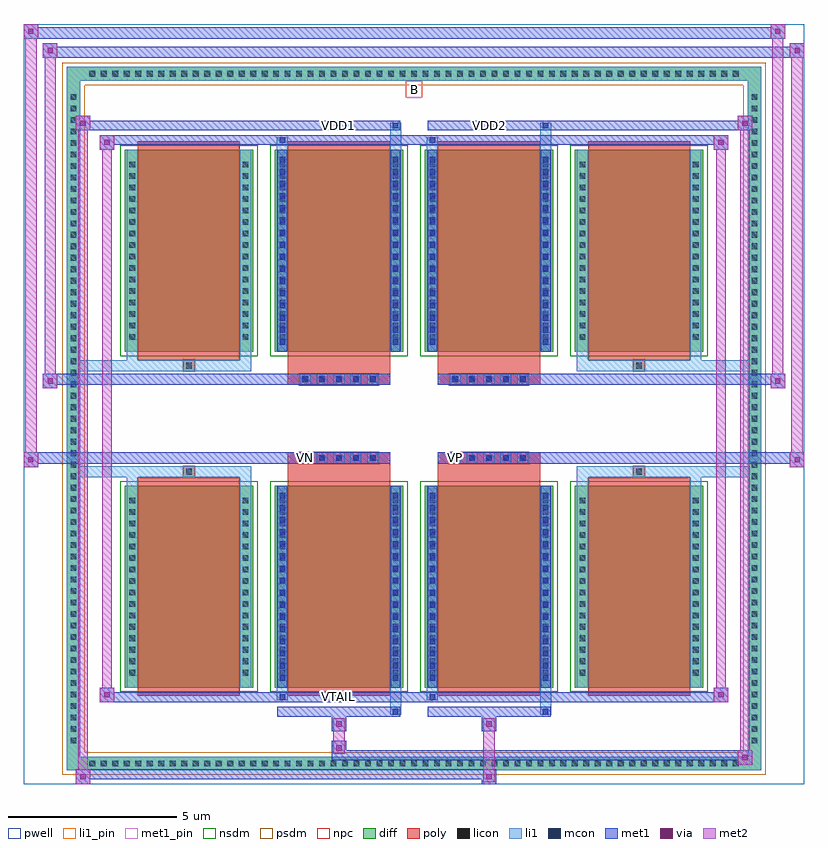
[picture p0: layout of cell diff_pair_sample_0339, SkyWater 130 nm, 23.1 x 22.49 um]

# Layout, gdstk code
import gdstk
lib = gdstk.Library(unit=1e-6, precision=5e-09)
def R(c, l, rs):  # rectangles x0, y0, x1, y1
    for r in rs: c.add(gdstk.rectangle(r[:2], r[2:], *l))
def A(c, l, x, y, w, h, nx, ny, dx, dy):  # array of equal rectangles
    R(c, l, [(x+i*dx, y+j*dy, x+i*dx+w, y+j*dy+h) for i in range(nx) for j in range(ny)])
def P(c, l, *ps):  # polygons
    for p in ps: c.add(gdstk.Polygon(p, *l))
pwell = (64, 44)
diff = (65, 20)
poly = (66, 20)
licon = (66, 44)
li1_pin = (67, 16)
li1 = (67, 20)
mcon = (67, 44)
met1_pin = (68, 16)
met1 = (68, 20)
via = (68, 44)
met2 = (69, 20)
nsdm = (93, 44)
psdm = (94, 20)
npc = (95, 20)

diff_pair_sample_0339 = lib.new_cell('diff_pair_sample_0339')
R(diff_pair_sample_0339, pwell, [(-11.55,-10.81,11.55,11.68), (-8.87,-9,-0.01,-0.8), (0.01,-9,8.87,-0.8), (-8.87,0.8,-0.01,9), (0.01,0.8,8.87,9)])
A(diff_pair_sample_0339, diff, -9.725, -10.41, 0.41, 0.41, 57, 2, 0.34, 20.41)
A(diff_pair_sample_0339, diff, -10.28, -9.725, 0.41, 0.41, 1, 57, 0, 0.34)
A(diff_pair_sample_0339, diff, 9.87, -9.725, 0.41, 0.41, 1, 57, 0, 0.34)
A(diff_pair_sample_0339, diff, -8.56, -7.955, 3.8, 5.97, 4, 2, 4.44, 9.94)
R(diff_pair_sample_0339, diff, [(-9.725,-10.41,9.725,-10), (-10.28,-9.725,-9.87,9.725), (9.87,-9.725,10.28,9.725), (-9.725,10,9.725,10.41)])
P(diff_pair_sample_0339, diff, [(10.28,10.41),(-10.28,10.41),(-10.28,-10),(-9.87,-10),(-9.87,10),(9.87,10),(9.87,-10),(-9.87,-10),(-10.28,-10),(-10.28,-10.41),(10.28,-10.41)])
A(diff_pair_sample_0339, poly, -8.17, -8.205, 3.02, 6.47, 4, 2, 4.44, 9.94)
A(diff_pair_sample_0339, poly, -3.385, -1.33, 0.33, 0.33, 5, 2, 0.5, 2.33)
A(diff_pair_sample_0339, poly, 1.055, -1.33, 0.33, 0.33, 5, 2, 0.5, 2.33)
R(diff_pair_sample_0339, poly, [(-6.825,-1.735,-6.495,-1.405), (-6.825,-1.735,-6.495,-1.405), (-3.73,-1.735,-0.71,-1.33), (0.71,-1.735,3.73,-1.33), (6.495,-1.735,6.825,-1.405), (6.495,-1.735,6.825,-1.405), (-3.73,-1.33,-0.71,-1), (0.71,-1.33,3.73,-1), (-3.73,1,-0.71,1.33), (0.71,1,3.73,1.33), (-3.73,1.33,-0.71,1.735), (0.71,1.33,3.73,1.735), (-6.825,1.405,-6.495,1.735), (-6.825,1.405,-6.495,1.735), (6.495,1.405,6.825,1.735), (6.495,1.405,6.825,1.735)])
A(diff_pair_sample_0339, licon, -9.605, -10.29, 0.17, 0.17, 57, 2, 0.34, 20.41)
A(diff_pair_sample_0339, licon, -10.16, -9.605, 0.17, 0.17, 1, 57, 0, 0.34)
A(diff_pair_sample_0339, licon, 9.99, -9.605, 0.17, 0.17, 1, 57, 0, 0.34)
A(diff_pair_sample_0339, licon, -8.42, -7.605, 0.17, 0.17, 1, 16, 0, 0.34)
A(diff_pair_sample_0339, licon, -5.07, -7.605, 0.17, 0.17, 1, 16, 0, 0.34)
A(diff_pair_sample_0339, licon, -3.98, -7.605, 0.17, 0.17, 1, 16, 0, 0.34)
A(diff_pair_sample_0339, licon, -0.63, -7.605, 0.17, 0.17, 1, 16, 0, 0.34)
A(diff_pair_sample_0339, licon, 0.46, -7.605, 0.17, 0.17, 1, 16, 0, 0.34)
A(diff_pair_sample_0339, licon, 3.81, -7.605, 0.17, 0.17, 1, 16, 0, 0.34)
A(diff_pair_sample_0339, licon, 4.9, -7.605, 0.17, 0.17, 1, 16, 0, 0.34)
A(diff_pair_sample_0339, licon, 8.25, -7.605, 0.17, 0.17, 1, 16, 0, 0.34)
A(diff_pair_sample_0339, licon, -3.305, -1.25, 0.17, 0.17, 5, 2, 0.5, 2.33)
A(diff_pair_sample_0339, licon, 1.135, -1.25, 0.17, 0.17, 5, 2, 0.5, 2.33)
A(diff_pair_sample_0339, licon, -8.42, 2.335, 0.17, 0.17, 1, 16, 0, 0.34)
A(diff_pair_sample_0339, licon, -5.07, 2.335, 0.17, 0.17, 1, 16, 0, 0.34)
A(diff_pair_sample_0339, licon, -3.98, 2.335, 0.17, 0.17, 1, 16, 0, 0.34)
A(diff_pair_sample_0339, licon, -0.63, 2.335, 0.17, 0.17, 1, 16, 0, 0.34)
A(diff_pair_sample_0339, licon, 0.46, 2.335, 0.17, 0.17, 1, 16, 0, 0.34)
A(diff_pair_sample_0339, licon, 3.81, 2.335, 0.17, 0.17, 1, 16, 0, 0.34)
A(diff_pair_sample_0339, licon, 4.9, 2.335, 0.17, 0.17, 1, 16, 0, 0.34)
A(diff_pair_sample_0339, licon, 8.25, 2.335, 0.17, 0.17, 1, 16, 0, 0.34)
R(diff_pair_sample_0339, licon, [(-6.745,-1.655,-6.575,-1.485), (6.575,-1.655,6.745,-1.485), (-6.745,1.485,-6.575,1.655), (6.575,1.485,6.745,1.655)])
R(diff_pair_sample_0339, li1_pin, [(-0.25,9.5,0.25,10)])
A(diff_pair_sample_0339, li1, -9.685, -10.37, 0.33, 0.33, 57, 2, 0.34, 20.41)
A(diff_pair_sample_0339, li1, -10.24, -9.685, 0.33, 0.33, 1, 57, 0, 0.34)
A(diff_pair_sample_0339, li1, 9.91, -9.685, 0.33, 0.33, 1, 57, 0, 0.34)
A(diff_pair_sample_0339, li1, -3.98, -7.755, 0.17, 0.17, 1, 16, 0, 0.36)
A(diff_pair_sample_0339, li1, -0.63, -7.755, 0.17, 0.17, 1, 16, 0, 0.36)
A(diff_pair_sample_0339, li1, 0.46, -7.755, 0.17, 0.17, 1, 16, 0, 0.36)
A(diff_pair_sample_0339, li1, 3.81, -7.755, 0.17, 0.17, 1, 16, 0, 0.36)
A(diff_pair_sample_0339, li1, -8.5, -7.685, 0.33, 0.33, 1, 16, 0, 0.34)
A(diff_pair_sample_0339, li1, -5.15, -7.685, 0.33, 0.33, 1, 16, 0, 0.34)
A(diff_pair_sample_0339, li1, -4.06, -7.685, 0.33, 0.33, 1, 16, 0, 0.34)
A(diff_pair_sample_0339, li1, -0.71, -7.685, 0.33, 0.33, 1, 16, 0, 0.34)
A(diff_pair_sample_0339, li1, 0.38, -7.685, 0.33, 0.33, 1, 16, 0, 0.34)
A(diff_pair_sample_0339, li1, 3.73, -7.685, 0.33, 0.33, 1, 16, 0, 0.34)
A(diff_pair_sample_0339, li1, 4.82, -7.685, 0.33, 0.33, 1, 16, 0, 0.34)
A(diff_pair_sample_0339, li1, 8.17, -7.685, 0.33, 0.33, 1, 16, 0, 0.34)
A(diff_pair_sample_0339, li1, -3.385, -1.33, 0.33, 0.33, 5, 2, 0.5, 2.33)
A(diff_pair_sample_0339, li1, 1.055, -1.33, 0.33, 0.33, 5, 2, 0.5, 2.33)
A(diff_pair_sample_0339, li1, -3.98, 2.185, 0.17, 0.17, 1, 16, 0, 0.36)
A(diff_pair_sample_0339, li1, -0.63, 2.185, 0.17, 0.17, 1, 16, 0, 0.36)
A(diff_pair_sample_0339, li1, 0.46, 2.185, 0.17, 0.17, 1, 16, 0, 0.36)
A(diff_pair_sample_0339, li1, 3.81, 2.185, 0.17, 0.17, 1, 16, 0, 0.36)
A(diff_pair_sample_0339, li1, -8.5, 2.255, 0.33, 0.33, 1, 16, 0, 0.34)
A(diff_pair_sample_0339, li1, -5.15, 2.255, 0.33, 0.33, 1, 16, 0, 0.34)
A(diff_pair_sample_0339, li1, -4.06, 2.255, 0.33, 0.33, 1, 16, 0, 0.34)
A(diff_pair_sample_0339, li1, -0.71, 2.255, 0.33, 0.33, 1, 16, 0, 0.34)
A(diff_pair_sample_0339, li1, 0.38, 2.255, 0.33, 0.33, 1, 16, 0, 0.34)
A(diff_pair_sample_0339, li1, 3.73, 2.255, 0.33, 0.33, 1, 16, 0, 0.34)
A(diff_pair_sample_0339, li1, 4.82, 2.255, 0.33, 0.33, 1, 16, 0, 0.34)
A(diff_pair_sample_0339, li1, 8.17, 2.255, 0.33, 0.33, 1, 16, 0, 0.34)
R(diff_pair_sample_0339, li1, [(-10.28,-10.41,-9.87,-10), (-10.28,-10.41,-9.87,-10), (-9.87,-10.41,9.87,-10), (9.87,-10.41,10.28,-10), (9.87,-10.41,10.28,-10), (-10.28,-10,-9.87,10), (9.87,-10,10.28,10), (-0.71,-8.76,-0.38,-7.955), (-0.63,-8.76,-0.46,-8.59), (3.73,-8.76,4.06,-7.955), (3.81,-8.76,3.98,-8.59), (-4.06,-8.33,-3.73,-7.955), (-3.98,-8.33,-3.81,-8.16), (0.38,-8.33,0.71,-7.955), (0.46,-8.33,0.63,-8.16), (-8.5,-7.955,-8.17,-1.985), (-5.15,-7.955,-4.82,-1.985), (-4.06,-7.955,-3.73,-1.985), (-0.71,-7.955,-0.38,-1.985), (0.38,-7.955,0.71,-1.985), (3.73,-7.955,4.06,-1.985), (4.82,-7.955,5.15,-1.985), (8.17,-7.955,8.5,-1.985), (-3.98,-7.755,-3.81,-2.185), (-0.63,-7.755,-0.46,-2.185), (0.46,-7.755,0.63,-2.185), (3.81,-7.755,3.98,-2.185), (-8.5,-1.985,-8.17,-1.405), (-5.15,-1.985,-4.82,-1.405), (4.82,-1.985,5.15,-1.405), (8.17,-1.985,8.5,-1.405), (-10.28,-1.735,-6.825,-1.405), (-8.5,-1.735,-6.825,-1.405), (-6.825,-1.735,-6.495,-1.405), (-6.495,-1.735,-4.82,-1.405), (4.82,-1.735,6.495,-1.405), (6.495,-1.735,6.825,-1.405), (6.495,-1.735,10.28,-1.405), (6.825,-1.735,8.5,-1.405), (-10.28,1.405,-6.825,1.735), (-8.5,1.405,-6.825,1.735), (-8.5,1.405,-8.17,1.985), (-6.825,1.405,-6.495,1.735), (-6.495,1.405,-4.82,1.735), (-5.15,1.405,-4.82,1.985), (4.82,1.405,6.495,1.735), (4.82,1.405,5.15,1.985), (6.495,1.405,6.825,1.735), (6.495,1.405,10.28,1.735), (6.825,1.405,8.5,1.735), (8.17,1.405,8.5,1.985), (-8.5,1.985,-8.17,7.955), (-5.15,1.985,-4.82,7.955), (-4.06,1.985,-3.73,7.955), (-0.71,1.985,-0.38,7.955), (0.38,1.985,0.71,7.955), (3.73,1.985,4.06,7.955), (4.82,1.985,5.15,7.955), (8.17,1.985,8.5,7.955), (-3.98,2.185,-3.81,7.755), (-0.63,2.185,-0.46,7.755), (0.46,2.185,0.63,7.755), (3.81,2.185,3.98,7.755), (-4.06,7.955,-3.73,8.33), (-0.71,7.955,-0.38,8.76), (0.38,7.955,0.71,8.33), (3.73,7.955,4.06,8.76), (-3.98,8.16,-3.81,8.33), (0.46,8.16,0.63,8.33), (-0.63,8.59,-0.46,8.76), (3.81,8.59,3.98,8.76), (-10.28,10,-9.87,10.41), (-10.28,10,-9.87,10.41), (-9.87,10,9.87,10.41), (9.87,10,10.28,10.41), (9.87,10,10.28,10.41)])
A(diff_pair_sample_0339, mcon, -3.98, -7.755, 0.17, 0.17, 1, 16, 0, 0.36)
A(diff_pair_sample_0339, mcon, -0.63, -7.755, 0.17, 0.17, 1, 16, 0, 0.36)
A(diff_pair_sample_0339, mcon, 0.46, -7.755, 0.17, 0.17, 1, 16, 0, 0.36)
A(diff_pair_sample_0339, mcon, 3.81, -7.755, 0.17, 0.17, 1, 16, 0, 0.36)
A(diff_pair_sample_0339, mcon, -3.305, -1.25, 0.17, 0.17, 5, 2, 0.5, 2.33)
A(diff_pair_sample_0339, mcon, 1.135, -1.25, 0.17, 0.17, 5, 2, 0.5, 2.33)
A(diff_pair_sample_0339, mcon, -3.98, 2.185, 0.17, 0.17, 1, 16, 0, 0.36)
A(diff_pair_sample_0339, mcon, -0.63, 2.185, 0.17, 0.17, 1, 16, 0, 0.36)
A(diff_pair_sample_0339, mcon, 0.46, 2.185, 0.17, 0.17, 1, 16, 0, 0.36)
A(diff_pair_sample_0339, mcon, 3.81, 2.185, 0.17, 0.17, 1, 16, 0, 0.36)
R(diff_pair_sample_0339, mcon, [(-0.63,-8.76,-0.46,-8.59), (3.81,-8.76,3.98,-8.59), (-3.98,-8.33,-3.81,-8.16), (0.46,-8.33,0.63,-8.16), (-3.98,8.16,-3.81,8.33), (0.46,8.16,0.63,8.33), (-0.63,8.59,-0.46,8.76), (3.81,8.59,3.98,8.76)])
R(diff_pair_sample_0339, met1_pin, [(-2.355,-8.37,-2.085,-8.1), (-3.355,-1.29,-3.085,-1.02), (1.085,-1.29,1.355,-1.02), (-2.355,8.55,-2.085,8.82), (2.085,8.55,2.355,8.82)])
A(diff_pair_sample_0339, met1, -4.04, -7.815, 0.29, 0.29, 1, 16, 0, 0.36)
A(diff_pair_sample_0339, met1, -0.69, -7.815, 0.29, 0.29, 1, 16, 0, 0.36)
A(diff_pair_sample_0339, met1, 0.4, -7.815, 0.29, 0.29, 1, 16, 0, 0.36)
A(diff_pair_sample_0339, met1, 3.75, -7.815, 0.29, 0.29, 1, 16, 0, 0.36)
A(diff_pair_sample_0339, met1, -3.365, -1.31, 0.29, 0.29, 5, 2, 0.5, 2.33)
A(diff_pair_sample_0339, met1, 1.075, -1.31, 0.29, 0.29, 5, 2, 0.5, 2.33)
A(diff_pair_sample_0339, met1, -4.04, 2.125, 0.29, 0.29, 1, 16, 0, 0.36)
A(diff_pair_sample_0339, met1, -0.69, 2.125, 0.29, 0.29, 1, 16, 0, 0.36)
A(diff_pair_sample_0339, met1, 0.4, 2.125, 0.29, 0.29, 1, 16, 0, 0.36)
A(diff_pair_sample_0339, met1, 3.75, 2.125, 0.29, 0.29, 1, 16, 0, 0.36)
R(diff_pair_sample_0339, met1, [(-10.01,-10.81,-9.58,-10.38), (2.005,-10.81,2.435,-10.38), (-10.01,-10.67,2.435,-10.38), (9.58,-10.24,10.01,-9.81), (-2.435,-10.1,10.01,-9.81), (-2.435,-9.96,-2.005,-9.53), (-2.435,-9.25,-2.005,-8.82), (2.005,-9.25,2.435,-8.82), (-4.04,-8.82,-0.4,-8.53), (-0.69,-8.82,-0.4,-8.53), (0.4,-8.82,4.04,-8.53), (3.75,-8.82,4.04,-8.53), (-9.3,-8.39,-8.87,-7.96), (-9.3,-8.39,-4.04,-8.1), (-4.04,-8.39,-3.75,-8.1), (-4.04,-8.39,-0.4,-8.1), (-0.4,-8.39,0.4,-8.1), (0.4,-8.39,0.69,-8.1), (0.4,-8.39,4.04,-8.1), (4.04,-8.39,9.3,-8.1), (8.87,-8.39,9.3,-7.96), (-4.04,-7.955,-3.75,-1.985), (-0.69,-7.955,-0.4,-1.985), (0.4,-7.955,0.69,-1.985), (3.75,-7.955,4.04,-1.985), (-11.55,-1.43,-11.12,-1), (11.12,-1.43,11.55,-1), (-11.55,-1.33,-0.71,-1), (-3.73,-1.33,-0.71,-1), (0.71,-1.33,3.73,-1), (0.71,-1.33,11.55,-1), (-10.98,0.9,-10.55,1.33), (10.55,0.9,10.98,1.33), (-10.98,1,-3.73,1.33), (-3.73,1,-0.71,1.33), (0.71,1,3.73,1.33), (3.73,1,10.98,1.33), (-4.04,1.985,-3.75,7.955), (-0.69,1.985,-0.4,7.955), (0.4,1.985,0.69,7.955), (3.75,1.985,4.04,7.955), (-9.3,7.96,-8.87,8.39), (8.87,7.96,9.3,8.39), (-9.3,8.1,-4.04,8.39), (-4.04,8.1,-3.75,8.39), (-4.04,8.1,-0.4,8.39), (-0.4,8.1,0.4,8.39), (0.4,8.1,0.69,8.39), (0.4,8.1,4.04,8.39), (4.04,8.1,9.3,8.39), (-10.01,8.53,-9.58,8.96), (-10.01,8.53,-4.04,8.82), (-4.04,8.53,-0.4,8.82), (-0.69,8.53,-0.4,8.82), (0.4,8.53,4.04,8.82), (3.75,8.53,4.04,8.82), (4.04,8.53,10.01,8.82), (9.58,8.53,10.01,8.96), (-10.98,10.68,-10.55,11.11), (-10.98,10.68,-8.87,11.01), (-8.87,10.68,8.87,11.01), (8.87,10.68,11.55,11.01), (11.12,10.68,11.55,11.11), (-11.55,11.25,-11.12,11.68), (-11.55,11.25,-8.87,11.58), (-8.87,11.25,8.87,11.58), (8.87,11.25,10.98,11.58), (10.55,11.25,10.98,11.68)])
R(diff_pair_sample_0339, via, [(-9.87,-10.67,-9.72,-10.52), (2.145,-10.67,2.295,-10.52), (9.72,-10.1,9.87,-9.95), (-2.295,-9.82,-2.145,-9.67), (-2.295,-9.11,-2.145,-8.96), (2.145,-9.11,2.295,-8.96), (-9.16,-8.25,-9.01,-8.1), (9.01,-8.25,9.16,-8.1), (-11.41,-1.29,-11.26,-1.14), (11.26,-1.29,11.41,-1.14), (-10.84,1.04,-10.69,1.19), (10.69,1.04,10.84,1.19), (-9.16,8.1,-9.01,8.25), (9.01,8.1,9.16,8.25), (-9.87,8.67,-9.72,8.82), (9.72,8.67,9.87,8.82), (-10.84,10.82,-10.69,10.97), (11.26,10.82,11.41,10.97), (-11.41,11.39,-11.26,11.54), (10.69,11.39,10.84,11.54)])
R(diff_pair_sample_0339, met2, [(-10.01,-10.81,-9.58,-10.38), (-9.94,-10.81,-9.65,8.96), (-9.65,-10.81,-9.58,-10.38), (-9.96,-10.76,-9.63,-10.43), (2.055,-10.76,2.385,-10.43), (2.055,-10.43,2.385,-9.2), (9.58,-10.24,10.01,-9.81), (9.65,-10.24,9.94,8.96), (9.94,-10.24,10.01,-9.81), (9.63,-10.19,9.96,-9.86), (-2.385,-9.91,-2.055,-9.58), (-2.385,-9.58,-2.055,-9.2), (-2.385,-9.2,-2.055,-8.87), (2.055,-9.2,2.385,-8.87), (-9.3,-8.39,-8.87,-7.96), (-9.23,-8.39,-8.94,8.39), (-8.94,-8.39,-8.87,-7.96), (8.87,-8.39,9.3,-7.96), (8.94,-8.39,9.23,8.39), (9.23,-8.39,9.3,-7.96), (-9.25,-8.34,-8.92,-8.01), (8.92,-8.34,9.25,-8.01), (-11.55,-1.43,-11.12,-1), (-11.5,-1.43,-11.17,11.68), (-11.17,-1.43,-11.12,-1), (11.12,-1.43,11.55,-1), (11.17,-1.43,11.5,11.11), (11.5,-1.43,11.55,-1), (-11.5,-1.38,-11.17,-1.05), (11.17,-1.38,11.5,-1.05), (-10.98,0.9,-10.55,1.33), (-10.93,0.9,-10.6,11.11), (-10.6,0.9,-10.55,1.33), (10.55,0.9,10.98,1.33), (10.6,0.9,10.93,11.68), (10.93,0.9,10.98,1.33), (-10.93,0.95,-10.6,1.28), (10.6,0.95,10.93,1.28), (-9.3,7.96,-8.87,8.39), (-8.94,7.96,-8.87,8.39), (8.87,7.96,9.3,8.39), (9.23,7.96,9.3,8.39), (-9.25,8.01,-8.92,8.34), (8.92,8.01,9.25,8.34), (-10.01,8.53,-9.58,8.96), (-9.65,8.53,-9.58,8.96), (9.58,8.53,10.01,8.96), (9.94,8.53,10.01,8.96), (-9.96,8.58,-9.63,8.91), (9.63,8.58,9.96,8.91), (-10.98,10.68,-10.55,11.11), (-10.6,10.68,-10.55,11.11), (11.12,10.68,11.55,11.11), (11.5,10.68,11.55,11.11), (-10.93,10.73,-10.6,11.06), (11.17,10.73,11.5,11.06), (-11.55,11.25,-11.12,11.68), (-11.17,11.25,-11.12,11.68), (10.55,11.25,10.98,11.68), (10.93,11.25,10.98,11.68), (-11.5,11.3,-11.17,11.63), (10.6,11.3,10.93,11.63)])
A(diff_pair_sample_0339, nsdm, -8.69, -8.085, 4.06, 6.23, 4, 2, 4.44, 9.94)
P(diff_pair_sample_0339, psdm, [(10.41,10.54),(-10.41,10.54),(-10.41,-9.87),(-9.74,-9.87),(-9.74,9.87),(9.74,9.87),(9.74,-9.87),(-9.74,-9.87),(-10.41,-9.87),(-10.41,-10.54),(10.41,-10.54)])
A(diff_pair_sample_0339, npc, -3.405, -1.35, 0.37, 0.37, 5, 2, 0.5, 2.33)
A(diff_pair_sample_0339, npc, 1.035, -1.35, 0.37, 0.37, 5, 2, 0.5, 2.33)
R(diff_pair_sample_0339, npc, [(-6.845,-1.755,-6.475,-1.385), (6.475,-1.755,6.845,-1.385), (-3.405,-1.35,-2.535,-0.98), (-3.405,-1.35,-2.535,-0.98), (-2.905,-1.35,-2.035,-0.98), (-2.905,-1.35,-2.035,-0.98), (-2.405,-1.35,-1.535,-0.98), (-2.405,-1.35,-1.535,-0.98), (-1.905,-1.35,-1.035,-0.98), (-1.905,-1.35,-1.035,-0.98), (1.035,-1.35,1.905,-0.98), (1.035,-1.35,1.905,-0.98), (1.535,-1.35,2.405,-0.98), (1.535,-1.35,2.405,-0.98), (2.035,-1.35,2.905,-0.98), (2.035,-1.35,2.905,-0.98), (2.535,-1.35,3.405,-0.98), (2.535,-1.35,3.405,-0.98), (-3.405,0.98,-2.535,1.35), (-3.405,0.98,-2.535,1.35), (-2.905,0.98,-2.035,1.35), (-2.905,0.98,-2.035,1.35), (-2.405,0.98,-1.535,1.35), (-2.405,0.98,-1.535,1.35), (-1.905,0.98,-1.035,1.35), (-1.905,0.98,-1.035,1.35), (1.035,0.98,1.905,1.35), (1.035,0.98,1.905,1.35), (1.535,0.98,2.405,1.35), (1.535,0.98,2.405,1.35), (2.035,0.98,2.905,1.35), (2.035,0.98,2.905,1.35), (2.535,0.98,3.405,1.35), (2.535,0.98,3.405,1.35), (-6.845,1.385,-6.475,1.755), (6.475,1.385,6.845,1.755)])
diff_pair_sample_0339.add(gdstk.Label('VTAIL', (-2.22,-8.235), layer=68, texttype=5))
diff_pair_sample_0339.add(gdstk.Label('VN', (-3.22,-1.155), layer=68, texttype=5))
diff_pair_sample_0339.add(gdstk.Label('VP', (1.22,-1.155), layer=68, texttype=5))
diff_pair_sample_0339.add(gdstk.Label('B', (0,9.75), layer=67, texttype=5))
diff_pair_sample_0339.add(gdstk.Label('VDD2', (2.22,8.685), layer=68, texttype=5))
diff_pair_sample_0339.add(gdstk.Label('VDD1', (-2.22,8.685), layer=68, texttype=5))

lib.write_gds('diff_pair_sample_0339.gds')
